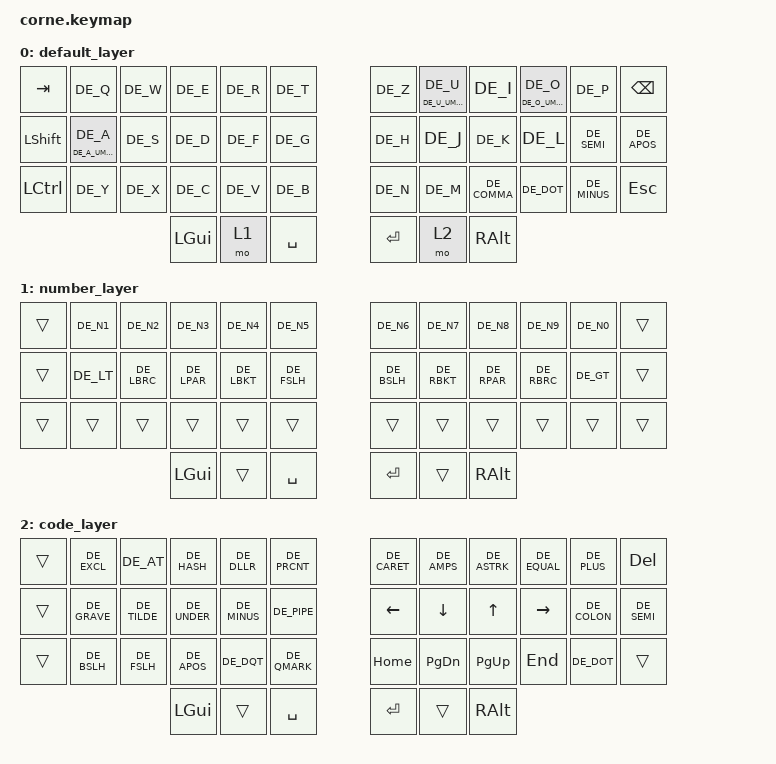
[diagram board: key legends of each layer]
/*
 * Copyright (c) 2020 The ZMK Contributors
 *
 * SPDX-License-Identifier: MIT
 */

#include <behaviors.dtsi>
#include <dt-bindings/zmk/bt.h>
#include <dt-bindings/zmk/keys.h>
#include <locale/keys_de.h>

/ {
    behaviors {
        a_uml: a_uml {
            compatible = "zmk,behavior-hold-tap";
            #binding-cells = <2>;
            tapping-term-ms = <200>;
            quick-tap-ms = <0>;
            flavor = "tap-preferred";
            bindings = <&kp>, <&kp>;
        };
    };

    keymap {
        compatible = "zmk,keymap";

        default_layer {
            bindings = <
&kp TAB           &kp DE_Q                    &kp DE_W  &kp DE_E   &kp DE_R  &kp DE_T        &kp DE_Z               &a_uml DE_U_UMLAUT DE_U     &kp DE_I               &a_uml DE_O_UMLAUT DE_O     &kp DE_P     &kp BSPC
&kp LEFT_SHIFT    &a_uml DE_A_UMLAUT DE_A     &kp DE_S  &kp DE_D   &kp DE_F  &kp DE_G        &kp DE_H               &kp DE_J                    &kp DE_K               &kp DE_L                    &kp DE_SEMI  &kp DE_APOS
&kp LEFT_CONTROL  &kp DE_Y                    &kp DE_X  &kp DE_C   &kp DE_V  &kp DE_B        &kp DE_N               &kp DE_M                    &kp DE_COMMA           &kp DE_DOT                  &kp DE_MINUS &kp ESC
                                                        &kp LGUI   &mo 1     &kp SPACE       &kp RET                &mo 2                       &kp RALT
            >;
        };

        number_layer {
            bindings = <
&trans  &kp DE_N1   &kp DE_N2    &kp DE_N3    &kp DE_N4    &kp DE_N5       &kp DE_N6      &kp DE_N7    &kp DE_N8     &kp DE_N9     &kp DE_N0   &trans
&trans  &kp DE_LT   &kp DE_LBRC  &kp DE_LPAR  &kp DE_LBKT  &kp DE_FSLH     &kp DE_BSLH    &kp DE_RBKT  &kp DE_RPAR   &kp DE_RBRC   &kp DE_GT   &trans
&trans  &trans      &trans       &trans       &trans       &trans          &trans         &trans       &trans        &trans        &trans      &trans
                                 &kp LGUI     &trans       &kp SPACE       &kp RET        &trans       &kp RALT
            >;
        };

        code_layer {
            bindings = <
&trans  &kp DE_EXCL   &kp DE_AT     &kp DE_HASH   &kp DE_DLLR   &kp DE_PRCNT    &kp DE_CARET   &kp DE_AMPS   &kp DE_ASTRK  &kp DE_EQUAL  &kp DE_PLUS   &kp DEL
&trans  &kp DE_GRAVE  &kp DE_TILDE  &kp DE_UNDER  &kp DE_MINUS  &kp DE_PIPE     &kp LEFT       &kp DOWN      &kp UP        &kp RIGHT     &kp DE_COLON  &kp DE_SEMI
&trans  &kp DE_BSLH   &kp DE_FSLH   &kp DE_APOS   &kp DE_DQT    &kp DE_QMARK    &kp HOME       &kp PG_DN     &kp PG_UP     &kp END       &kp DE_DOT    &trans
                                    &kp LGUI      &trans        &kp SPACE       &kp RET        &trans        &kp RALT
            >;
        };
    };
};
